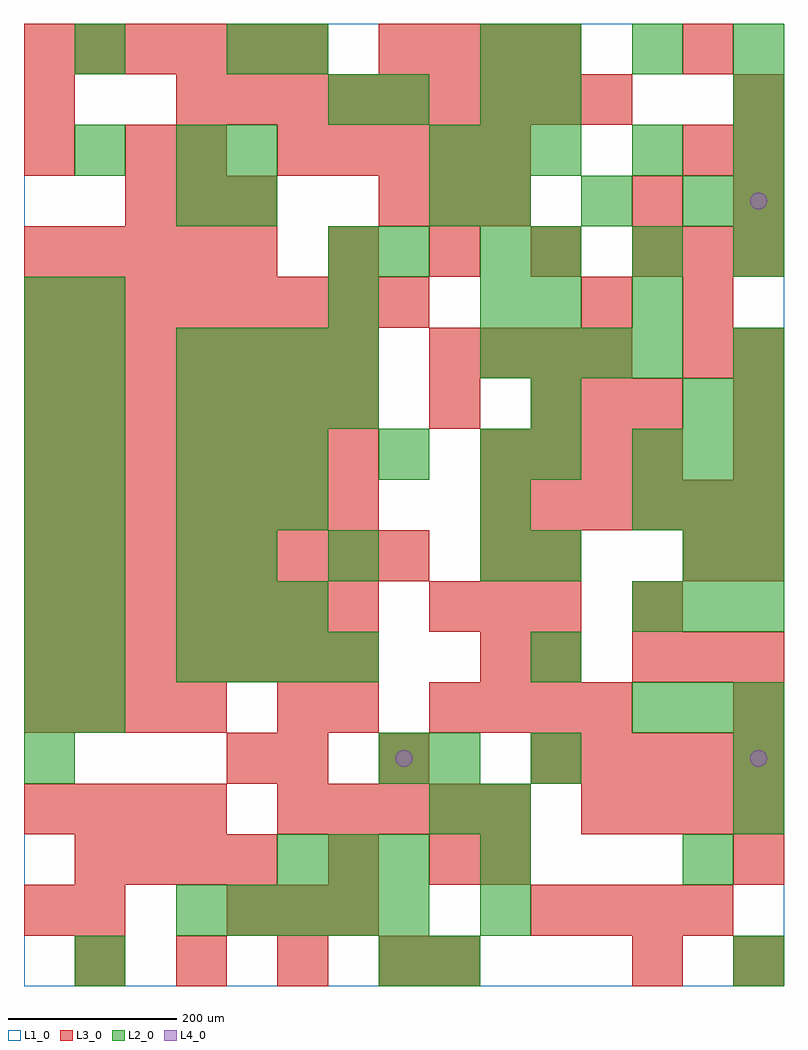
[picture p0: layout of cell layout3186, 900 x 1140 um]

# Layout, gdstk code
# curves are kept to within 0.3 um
import gdstk
lib = gdstk.Library(unit=1e-6, precision=1e-09)
def R(c, l, rs):  # rectangles x0, y0, x1, y1
    for r in rs: c.add(gdstk.rectangle(r[:2], r[2:], *l))
def A(c, l, x, y, w, h, nx, ny, dx, dy):  # array of equal rectangles
    R(c, l, [(x+i*dx, y+j*dy, x+i*dx+w, y+j*dy+h) for i in range(nx) for j in range(ny)])
def P(c, l, *ps):  # polygons
    for p in ps: c.add(gdstk.Polygon(p, *l))
L1_0 = (1, 0)
L2_0 = (2, 0)
L3_0 = (3, 0)
L4_0 = (4, 0)

layout3186 = lib.new_cell('layout3186')
R(layout3186, L1_0, [(0,0,900,1140)])
A(layout3186, L2_0, 180, 60, 60, 60, 5, 1, 60, 0)
A(layout3186, L2_0, 540, 60, 60, 60, 1, 3, 0, 60)
A(layout3186, L2_0, 300, 120, 60, 60, 3, 1, 60, 0)
A(layout3186, L2_0, 0, 240, 60, 60, 1, 10, 0, 60)
A(layout3186, L2_0, 600, 240, 60, 60, 1, 4, 0, 120)
A(layout3186, L2_0, 60, 300, 60, 60, 1, 9, 0, 60)
A(layout3186, L2_0, 720, 300, 60, 60, 3, 3, 60, 120)
A(layout3186, L2_0, 180, 360, 60, 60, 4, 2, 60, 300)
A(layout3186, L2_0, 180, 420, 60, 60, 3, 2, 60, 120)
A(layout3186, L2_0, 540, 480, 60, 60, 1, 3, 0, 60)
A(layout3186, L2_0, 180, 600, 60, 60, 3, 1, 60, 0)
A(layout3186, L2_0, 720, 600, 60, 60, 3, 1, 60, 0)
A(layout3186, L2_0, 180, 720, 60, 60, 4, 1, 60, 0)
A(layout3186, L2_0, 540, 720, 60, 60, 4, 1, 60, 0)
A(layout3186, L2_0, 600, 840, 60, 60, 3, 2, 120, 240)
A(layout3186, L2_0, 540, 900, 60, 60, 3, 1, 120, 0)
A(layout3186, L2_0, 840, 900, 60, 60, 1, 3, 0, 60)
A(layout3186, L2_0, 480, 960, 60, 60, 3, 1, 60, 0)
R(layout3186, L2_0, [(60,0,120,60), (420,0,480,60), (480,0,540,60), (840,0,900,60), (780,120,840,180), (480,180,540,240), (840,180,900,240), (420,240,480,300), (480,240,540,300), (840,240,900,300), (180,480,240,540), (240,480,300,540), (360,480,420,540), (780,480,840,540), (840,480,900,540), (420,600,480,660), (600,660,660,720), (780,660,840,720), (840,660,900,720), (840,720,900,780), (360,780,420,840), (540,780,600,840), (600,780,660,840), (720,780,780,840), (360,840,420,900), (420,840,480,900), (540,840,600,900), (180,900,240,960), (240,900,300,960), (480,900,540,960), (60,960,120,1020), (180,960,240,1020), (240,960,300,1020), (720,960,780,1020), (360,1020,420,1080), (420,1020,480,1080), (540,1020,600,1080), (600,1020,660,1080), (60,1080,120,1140), (240,1080,300,1140), (300,1080,360,1140), (540,1080,600,1140)])
A(layout3186, L3_0, 60, 0, 60, 60, 4, 1, 120, 0)
A(layout3186, L3_0, 240, 60, 60, 60, 3, 1, 60, 0)
A(layout3186, L3_0, 600, 60, 60, 60, 4, 1, 60, 0)
A(layout3186, L3_0, 60, 120, 60, 60, 4, 1, 60, 0)
A(layout3186, L3_0, 840, 120, 60, 60, 1, 3, 0, 180)
A(layout3186, L3_0, 0, 180, 60, 60, 4, 2, 60, 120)
A(layout3186, L3_0, 300, 180, 60, 60, 5, 2, 60, 780)
A(layout3186, L3_0, 660, 180, 60, 60, 4, 1, 60, 0)
A(layout3186, L3_0, 600, 240, 60, 60, 5, 1, 60, 0)
A(layout3186, L3_0, 480, 300, 60, 60, 4, 2, 60, 420)
A(layout3186, L3_0, 0, 360, 60, 60, 7, 2, 60, 60)
A(layout3186, L3_0, 720, 360, 60, 60, 3, 1, 60, 0)
A(layout3186, L3_0, 480, 420, 60, 60, 3, 1, 60, 0)
A(layout3186, L3_0, 0, 480, 60, 60, 8, 2, 60, 300)
A(layout3186, L3_0, 0, 540, 60, 60, 7, 4, 60, 60)
A(layout3186, L3_0, 540, 540, 60, 60, 6, 1, 60, 0)
A(layout3186, L3_0, 540, 600, 60, 60, 4, 1, 60, 0)
A(layout3186, L3_0, 840, 600, 60, 60, 1, 3, 0, 60)
A(layout3186, L3_0, 600, 660, 60, 60, 3, 1, 60, 0)
A(layout3186, L3_0, 780, 720, 60, 60, 1, 3, 0, 60)
A(layout3186, L3_0, 0, 840, 60, 60, 5, 1, 60, 0)
A(layout3186, L3_0, 360, 840, 60, 60, 4, 1, 120, 0)
A(layout3186, L3_0, 840, 840, 60, 60, 1, 4, 0, 60)
A(layout3186, L3_0, 120, 900, 60, 60, 3, 1, 60, 0)
A(layout3186, L3_0, 420, 900, 60, 60, 3, 1, 60, 0)
A(layout3186, L3_0, 180, 1020, 60, 60, 9, 1, 60, 0)
A(layout3186, L3_0, 0, 1080, 60, 60, 6, 1, 60, 0)
A(layout3186, L3_0, 420, 1080, 60, 60, 4, 1, 60, 0)
R(layout3186, L3_0, [(480,0,540,60), (720,0,780,60), (840,0,900,60), (0,60,60,120), (60,60,120,120), (360,120,420,180), (480,120,540,180), (540,120,600,180), (240,240,300,300), (300,240,360,300), (420,240,480,300), (300,300,360,360), (360,300,420,360), (540,360,600,420), (600,360,660,420), (720,420,780,480), (540,480,600,540), (600,480,660,540), (780,480,840,540), (480,660,540,720), (660,780,720,840), (720,900,780,960), (0,960,60,1020), (120,960,180,1020), (180,960,240,1020), (780,960,840,1020), (0,1020,60,1080), (780,1080,840,1140)])
P(layout3186, L4_0, [(460,270),(459.239,273.827),(457.071,277.071),(453.827,279.239),(450,280),(446.173,279.239),(442.929,277.071),(440.761,273.827),(440,270),(440.761,266.173),(442.929,262.929),(446.173,260.761),(450,260),(453.827,260.761),(457.071,262.929),(459.239,266.173)],
  [(880,270),(879.239,273.827),(877.071,277.071),(873.827,279.239),(870,280),(866.173,279.239),(862.929,277.071),(860.761,273.827),(860,270),(860.761,266.173),(862.929,262.929),(866.173,260.761),(870,260),(873.827,260.761),(877.071,262.929),(879.239,266.173)],
  [(880,930),(879.239,933.827),(877.071,937.071),(873.827,939.239),(870,940),(866.173,939.239),(862.929,937.071),(860.761,933.827),(860,930),(860.761,926.173),(862.929,922.929),(866.173,920.761),(870,920),(873.827,920.761),(877.071,922.929),(879.239,926.173)])

lib.write_gds('layout3186.gds')
